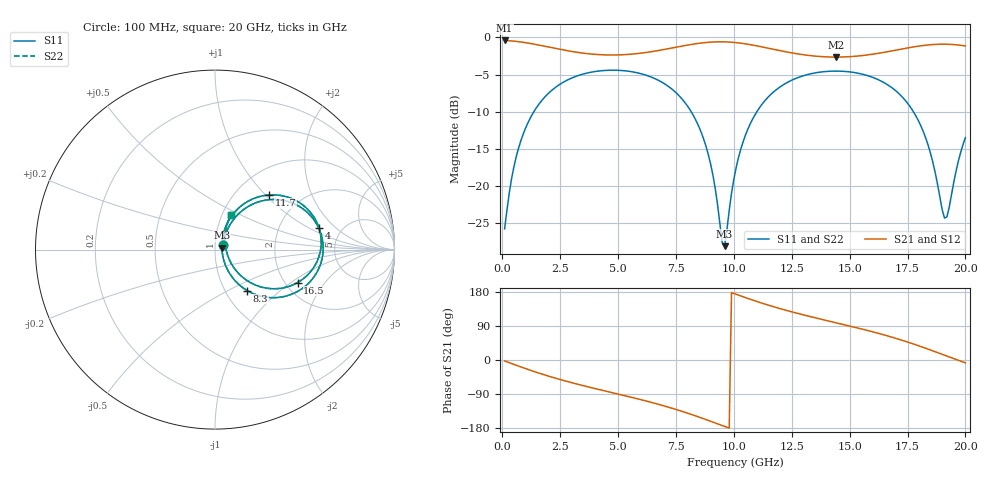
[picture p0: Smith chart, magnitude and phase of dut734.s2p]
! Touchstone file exported from HFSS 2026.1.0
!  File:  C:/ffzhzh/LocalFiles/Ansys_Project_Files/temp_train_TSV_RDL_734_1783203449_18472.aedt
!  Generated:  06:31:07 AM Jul  5, 2026
!  Design:  TSV_RDL
!  Project:  temp_train_TSV_RDL_734_1783203449_18472
! Variables:
!  h_bsmrdl = 4.81um
!  h_ox = 20um
!  h_rdl = 5um
!  h_sub = 93.51um
!  h_tmrdl = 3.17um
!  h_tsv = 93.51um
!  h_via = 3um
!  l_bsmrdl = 760.82um
!  l_sub = 5873.93um
!  l_tmrdl = 780.13um
!  m_sub = 200um
!  pitch = 42.33um
!  r_tsv = 9.57um
!  s_tmrdl = 10um
!  w_bsmrdl = 12.88um
!  w_sub = 500um
!  w_tmrdl = 10.77um
!  x_tsv_center1 = 785.515um
!  x_tsv_center2 = 1559.215um
!  x_tsv_center3 = 2350.115um
!  x_tsv_center4 = 3123.815um
!  x_tsv_center5 = 3914.715um
!  x_tsv_center6 = 4688.415um
# GHz S MA R 50.000000
! Terminal data exported
! Port[1] = TM_RDL1_1_T1
! Port[2] = TM_RDL5_1_T1
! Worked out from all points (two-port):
!   200 points, 100 MHz to 20 GHz, reference 50 ohm
!   highest |S21| = -0.40 dB at 100 MHz (marker M1); lowest = -2.6 dB at 14.4 GHz (marker M2)
!   |S21| within 3 dB of the highest: start of sweep to end of sweep
!   lowest |S11| = -28.1 dB at 9.6 GHz (marker M3), VSWR 1.08, Z = 53.9 + j1.14 ohm
!   |S11| at or under -10 dB: start of sweep to 1.362 GHz; 8.16 GHz to 10.99 GHz (2.832 GHz wide, 29.6 % of centre); 17.76 GHz to end of sweep
!   |S22| runs from -28.0 to -4.4 dB; largest |S21 - S12| = 1.6e-14
!   S11 on the Smith chart (normalised r, x): 100 MHz: 1.09, +0.05; 4 GHz: 3.38, +1.25; 8.3 GHz: 1.26, -0.63; 11.7 GHz: 1.40, +1.05; 16.5 GHz: 2.32, -1.13; 20 GHz: 1.10, +0.44
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0.1  0.05159 28.1  0.9552 -2.4  0.9552 -2.4  0.05159 28.1
! Gamma 0 0 0 0
! Port Impedance 50 0 50 0
0.5  0.1346 58.2  0.9454 -11.6  0.9454 -11.6  0.1346 58.2
1.2  0.2853 53.7  0.9122 -26.8  0.9122 -26.8  0.2853 53.7
2.2  0.4496 38.2  0.8498 -46.3  0.8498 -46.3  0.4496 38.2
3.5  0.5682 18.8  0.7845 -67.8  0.7845 -67.8  0.5682 18.8
4  0.5902 11.8  0.7703 -75.3  0.7703 -75.3  0.5902 11.8
5.4  0.5944 -7.4  0.7687 -95.8  0.7687 -95.8  0.5943 -7.4
6.8  0.5099 -27.8  0.8203 -117.9  0.8203 -117.9  0.5098 -27.8
8.3  0.2895 -52.0  0.9049 -146.4  0.9049 -146.4  0.2895 -51.9
9  0.1402 -58.4  0.931 -161.7  0.931 -161.7  0.1403 -58.2
9.5  0.04141 -17.0  0.9356 -173.0  0.9356 -173.0  0.04178 -16.7
9.6  0.03947 15.5  0.9349 -175.3  0.9349 -175.3  0.03989 15.5
10.1  0.1334 65.0  0.9236 173.4  0.9236 173.4  0.1335 64.8
10.7  0.2608 60.8  0.8957 160.5  0.8957 160.5  0.2609 60.7
11.7  0.4282 45.3  0.8337 140.8  0.8337 140.8  0.4283 45.3
13.4  0.5735 20.4  0.7525 113.1  0.7525 113.1  0.5735 20.4
14.4  0.5944 7.1  0.7383 98.4  0.7383 98.4  0.5944 7.1
16.5  0.4958 -21.7  0.7952 66.0  0.7952 66.0  0.4957 -21.7
16.7  0.4742 -24.7  0.8056 62.5  0.8056 62.5  0.4742 -24.7
18.1  0.2496 -43.9  0.8802 35.0  0.8802 35.0  0.2496 -44.0
19.1  0.06098 1.8  0.9016 12.6  0.9016 12.6  0.06104 1.8
20  0.2122 65.1  0.8777 -7.6  0.8777 -7.6  0.2123 65.1
